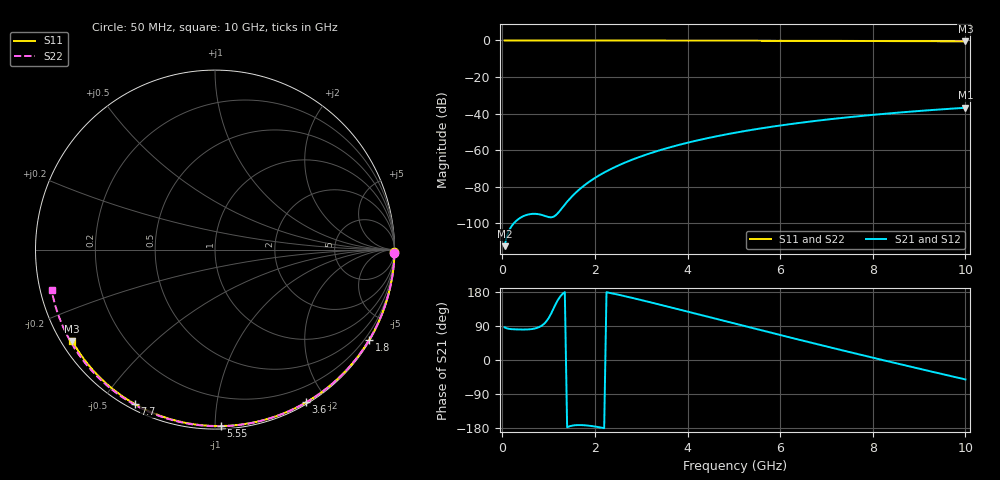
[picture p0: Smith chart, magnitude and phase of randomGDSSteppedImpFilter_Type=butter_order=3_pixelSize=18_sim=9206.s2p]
! freq	dB(S11)	phase(S11)	dB(S12)	phase(S12)
!  dB(S21)	phase(S21)	dB(S22)	phase(S22)
!S-par simulation data
#  GHz  S  DB  R 50
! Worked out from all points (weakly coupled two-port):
!   200 points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, 50 MHz to 10 GHz, reference 50 ohm
!   highest |S21| = -36.79 dB at 10 GHz (marker M1); lowest = -112.4 dB at 50 MHz (marker M2)
!   lowest |S11| = -0.5 dB at 10 GHz (marker M3), VSWR 34.92, Z = 1.55 - j14.6 ohm
!   |S11| at or under -10 dB: nowhere
!   |S22| runs from -0.6 to 0.0 dB; largest |S21 - S12| = 0
!   S11 on the Smith chart (normalised r, x): 50 MHz: open; 1.8 GHz: 0.03, -3.68; 3.6 GHz: 0.02, -1.76; 5.55 GHz: 0.02, -1.03; 7.7 GHz: 0.02, -0.61; 10 GHz: 0.03, -0.29
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0.05  -0.00 -0.9  -112.43 86.1  -112.43 86.1  -0.00 -1.0
0.45  -0.01 -7.7  -96.08 80.4  -96.08 80.4  -0.01 -8.6
0.85  -0.02 -14.5  -95.34 90.5  -95.34 90.5  -0.02 -16.2
1.25  -0.03 -21.2  -92.90 167.4  -92.90 167.4  -0.03 -23.7
1.7  -0.04 -28.7  -80.63 -171.7  -80.63 -171.7  -0.04 -32.0
1.75  -0.04 -29.5  -79.61 -172.0  -79.61 -172.0  -0.04 -32.9
1.8  -0.04 -30.4  -78.63 -172.5  -78.63 -172.5  -0.04 -33.8
2.1  -0.04 -35.3  -73.61 -177.6  -73.61 -177.6  -0.05 -39.3
2.3  -0.05 -38.6  -70.84 177.7  -70.84 177.7  -0.06 -42.9
2.5  -0.05 -41.8  -68.40 172.5  -68.40 172.5  -0.06 -46.5
2.9  -0.06 -48.2  -64.24 161.1  -64.24 161.1  -0.07 -53.6
3.4  -0.07 -56.1  -60.01 146.2  -60.01 146.2  -0.08 -62.4
3.6  -0.08 -59.2  -58.54 140.1  -58.54 140.1  -0.09 -65.8
4.3  -0.10 -69.9  -54.12 118.4  -54.12 118.4  -0.11 -77.6
5.05  -0.12 -80.9  -50.33 95.2  -50.33 95.2  -0.14 -89.9
5.55  -0.14 -88.1  -48.19 79.8  -48.19 79.8  -0.16 -97.8
6.1  -0.17 -95.8  -46.13 62.9  -46.13 62.9  -0.19 -106.4
6.7  -0.20 -104.1  -44.16 44.7  -44.16 44.7  -0.23 -115.7
7.7  -0.27 -117.4  -41.39 14.9  -41.39 14.9  -0.30 -130.8
8.35  -0.32 -126.0  -39.87 -4.1  -39.87 -4.1  -0.36 -140.6
9.2  -0.41 -137.0  -38.16 -28.6  -38.16 -28.6  -0.45 -153.5
10  -0.50 -147.4  -36.79 -51.3  -36.79 -51.3  -0.55 -166.0
